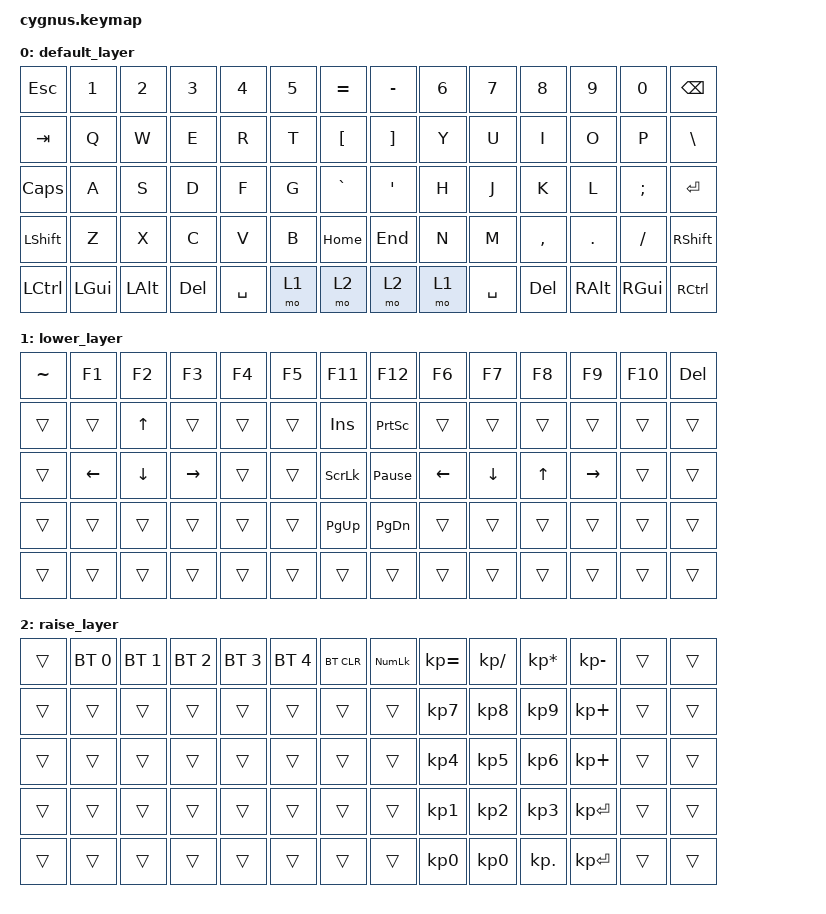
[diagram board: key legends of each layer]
#include <behaviors.dtsi>
#include <dt-bindings/zmk/keys.h>
#include <dt-bindings/zmk/bt.h>

/ {
        keymap {
                compatible = "zmk,keymap";

                default_layer {
                        // ┌─────┬─────┬─────┬─────┬─────┬─────┬─────┐     ┌─────┬─────┬─────┬─────┬─────┬─────┬─────┐
                        // │ ESC │  1  │  2  │  3  │  4  │  5  │  =  │     │  -  │  6  │  7  │  8  │  9  │  0  │BKSP │
                        // ├─────┼─────┼─────┼─────┼─────┼─────┼─────┤     ├─────┼─────┼─────┼─────┼─────┼─────┼─────┤
                        // │ TAB │  Q  │  W  │  E  │  R  │  T  │  [  │     │  ]  │  Y  │  U  │  I  │  O  │  P  │  \  │
                        // ├─────┼─────┼─────┼─────┼─────┼─────┼─────┤     ├─────┼─────┼─────┼─────┼─────┼─────┼─────┤
                        // │CAPS │  A  │  S  │  D  │  F  │  G  │  `  │     │  '  │  H  │  J  │  K  │  L  │  ;  │ENTER│
                        // ├─────┼─────┼─────┼─────┼─────┼─────┼─────┤     ├─────┼─────┼─────┼─────┼─────┼─────┼─────┤
                        // │LSHFT│  Z  │  X  │  C  │  V  │  B  │ HOME│     │ END │  N  │  M  │  ,  │  .  │  /  │RSHFT│
                        // ├─────┼─────┼─────┼─────┼─────┼─────┼─────┤     ├─────┼─────┼─────┼─────┼─────┼─────┼─────┤
                        // │LCTRL│LWIN │LALT │ DEL │ SPC │ FN1 │ FN2 │     │ FN2 │ FN1 │ SPC │ DEL │RALT │RWIN │RCTRL│
                        // └─────┴─────┴─────┴─────┴─────┴─────┴─────┘     └─────┴─────┴─────┴─────┴─────┴─────┴─────┘
                        bindings = <
                        &kp ESC   &kp N1   &kp N2   &kp N3   &kp N4   &kp N5   &kp EQUAL       &kp MINUS &kp N6   &kp N7   &kp N8    &kp N9   &kp N0    &kp BSPC
                        &kp TAB   &kp Q    &kp W    &kp E    &kp R    &kp T    &kp LBKT        &kp RBKT  &kp Y    &kp U    &kp I     &kp O    &kp P     &kp BSLH
                        &kp CLCK  &kp A    &kp S    &kp D    &kp F    &kp G    &kp GRAVE       &kp SQT   &kp H    &kp J    &kp K     &kp L    &kp SEMI  &kp RET
                        &kp LSHFT &kp Z    &kp X    &kp C    &kp V    &kp B    &kp HOME        &kp END   &kp N    &kp M    &kp COMMA &kp DOT  &kp FSLH  &kp RSHFT
                        &kp LCTRL &kp LGUI &kp LALT &kp DEL  &kp SPACE &mo 1   &mo 2           &mo 2     &mo 1    &kp SPACE &kp DEL  &kp RALT &kp RGUI  &kp RCTRL
                        >;
                };
                lower_layer {
                        // ┌─────┬─────┬─────┬─────┬─────┬─────┬─────┐     ┌─────┬─────┬─────┬─────┬─────┬─────┬─────┐
                        // │  ~  │ F1  │ F2  │ F3  │ F4  │ F5  │ F11 │     │ F12 │ F6  │ F7  │ F8  │ F9  │ F10 │ DEL │
                        // ├─────┼─────┼─────┼─────┼─────┼─────┼─────┤     ├─────┼─────┼─────┼─────┼─────┼─────┼─────┤
                        // │     │     │ UP  │     │     │     │ INS │     │PSCRN│     │     │     │     │     │     │
                        // ├─────┼─────┼─────┼─────┼─────┼─────┼─────┤     ├─────┼─────┼─────┼─────┼─────┼─────┼─────┤
                        // │     │LEFT │DOWN │RIGHT│     │     │SLCK │     │PAUSE│LEFT │DOWN │ UP  │RIGHT│     │     │
                        // ├─────┼─────┼─────┼─────┼─────┼─────┼─────┤     ├─────┼─────┼─────┼─────┼─────┼─────┼─────┤
                        // │     │     │     │     │     │     │PGUP │     │PGDN │     │     │     │     │     │     │
                        // ├─────┼─────┼─────┼─────┼─────┼─────┼─────┤     ├─────┼─────┼─────┼─────┼─────┼─────┼─────┤
                        // │     │     │     │     │     │     │     │     │     │     │     │     │     │     │     │
                        // └─────┴─────┴─────┴─────┴─────┴─────┴─────┘     └─────┴─────┴─────┴─────┴─────┴─────┴─────┘
                        bindings = <
                        &kp TILDE &kp F1   &kp F2   &kp F3    &kp F4   &kp F5   &kp F11       &kp F12   &kp F6   &kp F7   &kp F8   &kp F9    &kp F10  &kp DEL
                        &trans    &trans   &kp UP   &trans    &trans   &trans   &kp INS       &kp PSCRN &trans   &trans   &trans   &trans    &trans   &trans
                        &trans    &kp LEFT &kp DOWN &kp RIGHT &trans   &trans   &kp SLCK      &kp PAUSE_BREAK &kp LEFT &kp DOWN &kp UP   &kp RIGHT &trans   &trans
                        &trans    &trans   &trans   &trans    &trans   &trans   &kp PG_UP     &kp PG_DN &trans   &trans   &trans   &trans    &trans   &trans
                        &trans    &trans   &trans   &trans    &trans   &trans   &trans        &trans    &trans   &trans   &trans   &trans    &trans   &trans
                        >;
                };

                raise_layer {
                        // ┌─────┬─────┬─────┬─────┬─────┬─────┬─────┐     ┌─────┬─────┬─────┬─────┬─────┬─────┬─────┐
                        // │     │ BT1 │ BT2 │ BT3 │ BT4 │ BT5 │BTCLR│     │NUMLK│  =  │  /  │  *  │  -  │     │     │
                        // ├─────┼─────┼─────┼─────┼─────┼─────┼─────┤     ├─────┼─────┼─────┼─────┼─────┼─────┼─────┤
                        // │     │     │     │     │     │     │     │     │     │  7  │  8  │  9  │  +  │     │     │
                        // ├─────┼─────┼─────┼─────┼─────┼─────┼─────┤     ├─────┼─────┼─────┼─────┼─────┼─────┼─────┤
                        // │     │     │     │     │     │     │     │     │     │  4  │  5  │  6  │  +  │     │     │
                        // ├─────┼─────┼─────┼─────┼─────┼─────┼─────┤     ├─────┼─────┼─────┼─────┼─────┼─────┼─────┤
                        // │     │     │     │     │     │     │     │     │     │  1  │  2  │  3  │ENTER│     │     │
                        // ├─────┼─────┼─────┼─────┼─────┼─────┼─────┤     ├─────┼─────┼─────┼─────┼─────┼─────┼─────┤
                        // │     │     │     │     │     │     │     │     │     │  0  │  0  │  .  │ENTER│     │     │
                        // └─────┴─────┴─────┴─────┴─────┴─────┴─────┘     └─────┴─────┴─────┴─────┴─────┴─────┴─────┘
                        bindings = <
                        &trans &bt BT_SEL 0 &bt BT_SEL 1 &bt BT_SEL 2 &bt BT_SEL 3 &bt BT_SEL 4 &bt BT_CLR    &kp KP_NLCK &kp KP_EQUAL &kp KP_SLASH &kp KP_ASTERISK &kp KP_MINUS &trans &trans
                        &trans &trans       &trans       &trans       &trans       &trans       &trans        &trans      &kp KP_N7    &kp KP_N8    &kp KP_N9       &kp KP_PLUS  &trans &trans
                        &trans &trans       &trans       &trans       &trans       &trans       &trans        &trans      &kp KP_N4    &kp KP_N5    &kp KP_N6       &kp KP_PLUS  &trans &trans
                        &trans &trans       &trans       &trans       &trans       &trans       &trans        &trans      &kp KP_N1    &kp KP_N2    &kp KP_N3       &kp KP_ENTER &trans &trans
                        &trans &trans       &trans       &trans       &trans       &trans       &trans        &trans      &kp KP_N0    &kp KP_N0    &kp KP_DOT      &kp KP_ENTER &trans &trans
                        >;
                };
        };
};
